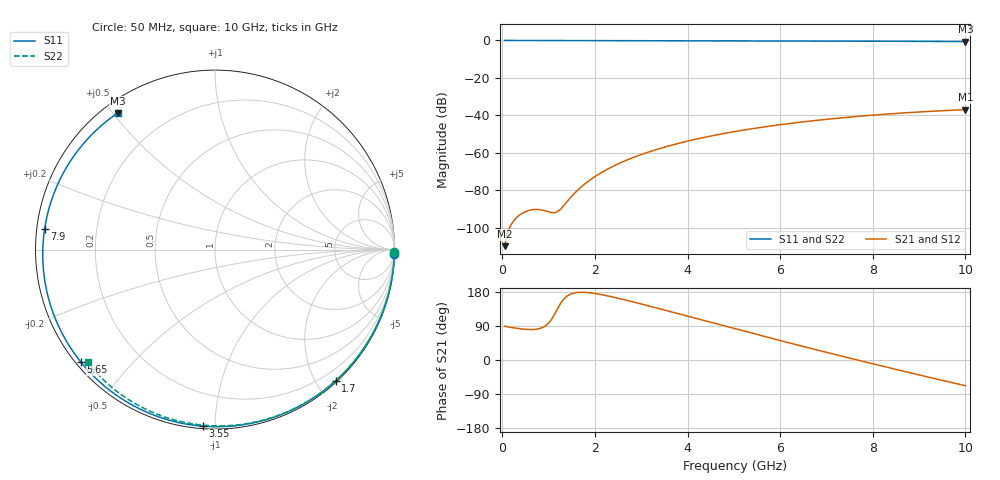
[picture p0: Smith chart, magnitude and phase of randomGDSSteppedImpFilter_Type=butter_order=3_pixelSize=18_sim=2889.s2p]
! freq	dB(S11)	phase(S11)	dB(S12)	phase(S12)
!  dB(S21)	phase(S21)	dB(S22)	phase(S22)
!S-par simulation data
#  GHz  S  DB  R 50
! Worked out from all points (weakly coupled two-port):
!   200 points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, 50 MHz to 10 GHz, reference 50 ohm
!   highest |S21| = -36.92 dB at 10 GHz (marker M1); lowest = -109.7 dB at 50 MHz (marker M2)
!   lowest |S11| = -0.6 dB at 10 GHz (marker M3), VSWR 29.40, Z = 2.15 + j25.8 ohm
!   |S11| at or under -10 dB: nowhere
!   |S22| runs from -0.5 to 0.0 dB; largest |S21 - S12| = 0
!   S11 on the Smith chart (normalised r, x): 50 MHz: 0, -79; 1.7 GHz: 0.02, -2.28; 3.55 GHz: 0.01, -0.93; 5.65 GHz: 0.01, -0.36; 7.9 GHz: 0.02, +0.06; 10 GHz: 0.04, +0.52
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0.05  -0.00 -1.4  -109.73 89.0  -109.73 89.0  -0.00 -0.8
0.4  -0.02 -11.4  -92.65 82.2  -92.65 82.2  -0.01 -6.4
0.8  -0.03 -22.7  -90.23 82.8  -90.23 82.8  -0.02 -12.7
1.2  -0.04 -33.8  -91.17 136.9  -91.17 136.9  -0.02 -19.1
1.6  -0.06 -44.7  -80.50 177.9  -80.50 177.9  -0.03 -25.3
1.7  -0.06 -47.4  -78.22 178.7  -78.22 178.7  -0.03 -26.9
1.75  -0.06 -48.7  -77.16 178.7  -77.16 178.7  -0.04 -27.6
2.05  -0.07 -56.6  -71.82 174.5  -71.82 174.5  -0.04 -32.3
2.45  -0.08 -67.0  -66.43 164.4  -66.43 164.4  -0.05 -38.4
2.9  -0.10 -78.2  -61.75 151.0  -61.75 151.0  -0.06 -45.2
3.4  -0.12 -90.3  -57.64 135.1  -57.64 135.1  -0.07 -52.6
3.55  -0.12 -93.9  -56.57 130.3  -56.57 130.3  -0.07 -54.8
4.25  -0.15 -109.9  -52.28 107.5  -52.28 107.5  -0.09 -64.8
5.05  -0.19 -127.4  -48.46 81.6  -48.46 81.6  -0.12 -76.0
5.65  -0.22 -140.1  -46.13 62.4  -46.13 62.4  -0.14 -84.1
6.2  -0.25 -151.6  -44.30 45.0  -44.30 45.0  -0.16 -91.4
6.7  -0.29 -162.0  -42.85 29.4  -42.85 29.4  -0.19 -97.9
7.3  -0.34 -174.4  -41.34 11.1  -41.34 11.1  -0.23 -105.5
7.9  -0.39 172.9  -40.04 -7.0  -40.04 -7.0  -0.27 -113.0
8.35  -0.43 163.3  -39.19 -20.4  -39.19 -20.4  -0.30 -118.5
9.15  -0.51 145.5  -37.93 -43.7  -37.93 -43.7  -0.38 -128.2
10  -0.59 125.4  -36.92 -67.8  -36.92 -67.8  -0.47 -138.5
